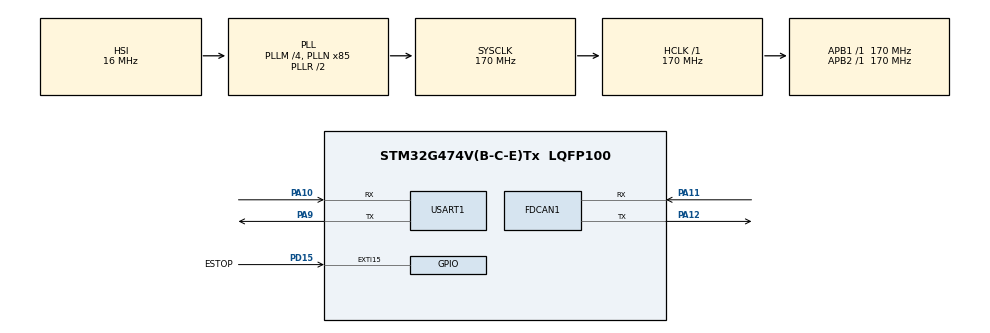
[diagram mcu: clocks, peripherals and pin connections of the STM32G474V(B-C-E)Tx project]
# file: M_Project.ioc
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Dma.Request0=USART1_RX
Dma.Request1=USART1_TX
Dma.USART1_RX.0.Direction=DMA_PERIPH_TO_MEMORY
Dma.USART1_RX.0.EventEnable=DISABLE
Dma.USART1_RX.0.Instance=DMA1_Channel1
Dma.USART1_RX.0.MemDataAlignment=DMA_MDATAALIGN_BYTE
Dma.USART1_RX.0.MemInc=DMA_MINC_ENABLE
Dma.USART1_RX.0.Mode=DMA_CIRCULAR
Dma.USART1_RX.0.PeriphDataAlignment=DMA_PDATAALIGN_BYTE
Dma.USART1_RX.0.PeriphInc=DMA_PINC_DISABLE
Dma.USART1_RX.0.Polarity=HAL_DMAMUX_REQ_GEN_RISING
Dma.USART1_RX.0.Priority=DMA_PRIORITY_LOW
Dma.USART1_RX.0.RequestNumber=1
Dma.USART1_RX.0.SignalID=NONE
Dma.USART1_RX.0.SyncEnable=DISABLE
Dma.USART1_RX.0.SyncPolarity=HAL_DMAMUX_SYNC_NO_EVENT
Dma.USART1_RX.0.SyncRequestNumber=1
Dma.USART1_RX.0.SyncSignalID=NONE
Dma.USART1_TX.1.Direction=DMA_MEMORY_TO_PERIPH
Dma.USART1_TX.1.EventEnable=DISABLE
Dma.USART1_TX.1.Instance=DMA1_Channel2
Dma.USART1_TX.1.MemDataAlignment=DMA_MDATAALIGN_BYTE
Dma.USART1_TX.1.MemInc=DMA_MINC_ENABLE
Dma.USART1_TX.1.Mode=DMA_NORMAL
Dma.USART1_TX.1.PeriphDataAlignment=DMA_PDATAALIGN_BYTE
Dma.USART1_TX.1.PeriphInc=DMA_PINC_DISABLE
Dma.USART1_TX.1.Polarity=HAL_DMAMUX_REQ_GEN_RISING
Dma.USART1_TX.1.Priority=DMA_PRIORITY_LOW
Dma.USART1_TX.1.RequestNumber=1
Dma.USART1_TX.1.SignalID=NONE
Dma.USART1_TX.1.SyncEnable=DISABLE
Dma.USART1_TX.1.SyncPolarity=HAL_DMAMUX_SYNC_NO_EVENT
Dma.USART1_TX.1.SyncRequestNumber=1
Dma.USART1_TX.1.SyncSignalID=NONE
FDCAN1.CalculateBaudRateNominal=500000
FDCAN1.CalculateTimeBitNominal=2000
FDCAN1.CalculateTimeQuantumNominal=100.0
FDCAN1.NominalPrescaler=17
FDCAN1.NominalTimeSeg1=15
FDCAN1.NominalTimeSeg2=4
Mcu.Family=STM32G4
Mcu.Name=STM32G474V(B-C-E)Tx
Mcu.Package=LQFP100
NVIC.DMA1_Channel1_IRQn=true\:0\:0\:false\:false\:true\:false\:true\:true
NVIC.DMA1_Channel2_IRQn=true\:0\:0\:false\:false\:true\:false\:true\:true
NVIC.EXTI15_10_IRQn=true\:0\:0\:false\:false\:true\:true\:true\:true
NVIC.FDCAN1_IT0_IRQn=true\:0\:0\:false\:false\:true\:true\:true\:true
NVIC.FDCAN1_IT1_IRQn=true\:0\:0\:false\:false\:true\:true\:true\:true
NVIC.PriorityGroup=NVIC_PRIORITYGROUP_4
NVIC.TIM6_DAC_IRQn=true\:0\:0\:false\:false\:true\:true\:true\:true
NVIC.USART1_IRQn=true\:0\:0\:false\:false\:true\:false\:true\:true
PA10.Mode=Asynchronous
PA10.Signal=USART1_RX
PA11.Mode=FDCAN_Activate
PA11.Signal=FDCAN1_RX
PA12.Mode=FDCAN_Activate
PA12.Signal=FDCAN1_TX
PA13.Mode=Serial_Wire
PA13.Signal=SYS_JTMS-SWDIO
PA14.Mode=Serial_Wire
PA14.Signal=SYS_JTCK-SWCLK
PA9.Mode=Asynchronous
PA9.Signal=USART1_TX
PD15.GPIO_Label=ESTOP
PD15.GPIO_ModeDefaultEXTI=GPIO_MODE_IT_FALLING
PD15.GPIO_PuPd=GPIO_PULLUP
PD15.Signal=GPXTI15
PF0-OSC_IN.Mode=HSE-External-Oscillator
PF0-OSC_IN.Signal=RCC_OSC_IN
PF1-OSC_OUT.Mode=HSE-External-Oscillator
PF1-OSC_OUT.Signal=RCC_OSC_OUT
ProjectManager.HeapSize=0x200
ProjectManager.StackSize=0x400
ProjectManager.TargetToolchain=CMake
RCC.ADC12Freq_Value=170000000
RCC.ADC345Freq_Value=170000000
RCC.AHBFreq_Value=170000000
RCC.APB1Freq_Value=170000000
RCC.APB1TimFreq_Value=170000000
RCC.APB2Freq_Value=170000000
RCC.APB2TimFreq_Value=170000000
RCC.CortexFreq_Value=170000000
RCC.EXTERNAL_CLOCK_VALUE=12288000
RCC.HCLKFreq_Value=170000000
RCC.HSE_VALUE=8000000
RCC.HSI48_VALUE=48000000
RCC.HSI_VALUE=16000000
RCC.LSE_VALUE=32768
RCC.PLLM=RCC_PLLM_DIV4
RCC.PLLN=85
RCC.SYSCLKFreq_VALUE=170000000
RCC.SYSCLKSource=RCC_SYSCLKSOURCE_PLLCLK
RCC.USBFreq_Value=170000000
RCC.VCOOutputFreq_Value=340000000
TIM6.AutoReloadPreload=TIM_AUTORELOAD_PRELOAD_ENABLE
TIM6.PeriodNoDither=1000-1
TIM6.Prescaler=170-1
USART1.VirtualMode-Asynchronous=VM_ASYNC
VP_SYS_VS_DBSignals.Mode=DisableDeadBatterySignals
VP_TIM6_VS_ClockSourceINT.Mode=Enable_Timer
board=custom

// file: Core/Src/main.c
/* USER CODE BEGIN Header */
/**
  ******************************************************************************
  * @file           : main.c
  ******************************************************************************
  */
/* USER CODE END Header */
#include "main.h"
#include "dma.h"
#include "fdcan.h"
#include "tim.h"
#include "usart.h"
#include "gpio.h"

/* USER CODE BEGIN Includes */
#include <stdio.h>
#include "state_machine.h"
#include "protocol.h"
/* USER CODE END Includes */

#ifndef APP_UART_DEBUG
#define APP_UART_DEBUG 0
#endif

void SystemClock_Config(void);

int main(void)
{
  HAL_Init();
  SystemClock_Config();
  MX_GPIO_Init();
  MX_DMA_Init();
  MX_FDCAN1_Init();
  MX_USART1_UART_Init();
  MX_TIM6_Init();

  /* USER CODE BEGIN 2 */
  SET_BIT(huart1.Instance->CR1, USART_CR1_TE);

#if APP_UART_DEBUG
  char buf[128];
  int n = snprintf(buf, sizeof(buf),
                   "\r\n===== M_Project v2 DLC_FIX =====\r\n");
  HAL_UART_Transmit(&huart1, (uint8_t *)buf, n, 1000);
#endif

  __HAL_UART_ENABLE_IT(&huart1, UART_IT_RXNE);

  Protocol_Init();

  HAL_FDCAN_ConfigGlobalFilter(&hfdcan1,
      FDCAN_ACCEPT_IN_RX_FIFO0, FDCAN_ACCEPT_IN_RX_FIFO0,
      FDCAN_FILTER_REMOTE, FDCAN_FILTER_REMOTE);

#if APP_UART_DEBUG
  HAL_UART_Transmit(&huart1, (uint8_t *)"Filter=OK\r\n", 11, 100);
#endif

  HAL_StatusTypeDef st = HAL_FDCAN_Start(&hfdcan1);
#if APP_UART_DEBUG
  n = snprintf(buf, sizeof(buf), "FDCAN_Start=%d\r\n", (int)st);
  HAL_UART_Transmit(&huart1, (uint8_t *)buf, n, 100);
#else
  (void)st;
#endif

  st = HAL_FDCAN_ActivateNotification(&hfdcan1, FDCAN_IT_RX_FIFO0_NEW_MESSAGE, 0);
#if APP_UART_DEBUG
  n = snprintf(buf, sizeof(buf), "Notif=%d PSR=0x%08lX\r\n",
               (int)st, (unsigned long)hfdcan1.Instance->PSR);
  HAL_UART_Transmit(&huart1, (uint8_t *)buf, n, 1000);
#else
  (void)st;
#endif

  HAL_TIM_Base_Start_IT(&htim6);

#if APP_UART_DEBUG
  n = snprintf(buf, sizeof(buf), "PRE_SM_INIT\r\n");
  HAL_UART_Transmit(&huart1, (uint8_t *)buf, n, 1000);
#endif

  SM_Init();

#if APP_UART_DEBUG
  n = snprintf(buf, sizeof(buf), "POST_SM_INIT RX=%lu ST=%d\r\n",
               (unsigned long)g_can_rx_count, (int)g_sm_state);
  HAL_UART_Transmit(&huart1, (uint8_t *)buf, n, 1000);
#endif

  /* USER CODE END 2 */
  while (1) {
    SM_Run();
  }
}

void SystemClock_Config(void)
{
  RCC_OscInitTypeDef RCC_OscInitStruct = {0};
  RCC_ClkInitTypeDef RCC_ClkInitStruct = {0};

  HAL_PWREx_ControlVoltageScaling(PWR_REGULATOR_VOLTAGE_SCALE1_BOOST);

  RCC_OscInitStruct.OscillatorType = RCC_OSCILLATORTYPE_HSI;
  RCC_OscInitStruct.HSIState = RCC_HSI_ON;
  RCC_OscInitStruct.HSICalibrationValue = RCC_HSICALIBRATION_DEFAULT;
  RCC_OscInitStruct.PLL.PLLState = RCC_PLL_ON;
  RCC_OscInitStruct.PLL.PLLSource = RCC_PLLSOURCE_HSI;
  RCC_OscInitStruct.PLL.PLLM = RCC_PLLM_DIV4;
  RCC_OscInitStruct.PLL.PLLN = 85;
  RCC_OscInitStruct.PLL.PLLP = RCC_PLLP_DIV2;
  RCC_OscInitStruct.PLL.PLLQ = RCC_PLLQ_DIV2;
  RCC_OscInitStruct.PLL.PLLR = RCC_PLLR_DIV2;
  if (HAL_RCC_OscConfig(&RCC_OscInitStruct) != HAL_OK) {
    Error_Handler();
  }

  RCC_ClkInitStruct.ClockType = RCC_CLOCKTYPE_HCLK |
                                RCC_CLOCKTYPE_SYSCLK |
                                RCC_CLOCKTYPE_PCLK1 |
                                RCC_CLOCKTYPE_PCLK2;
  RCC_ClkInitStruct.SYSCLKSource = RCC_SYSCLKSOURCE_PLLCLK;
  RCC_ClkInitStruct.AHBCLKDivider = RCC_SYSCLK_DIV1;
  RCC_ClkInitStruct.APB1CLKDivider = RCC_HCLK_DIV1;
  RCC_ClkInitStruct.APB2CLKDivider = RCC_HCLK_DIV1;
  if (HAL_RCC_ClockConfig(&RCC_ClkInitStruct, FLASH_LATENCY_4) != HAL_OK) {
    Error_Handler();
  }
}

void Error_Handler(void)
{
  __disable_irq();
  while (1) {
  }
}
